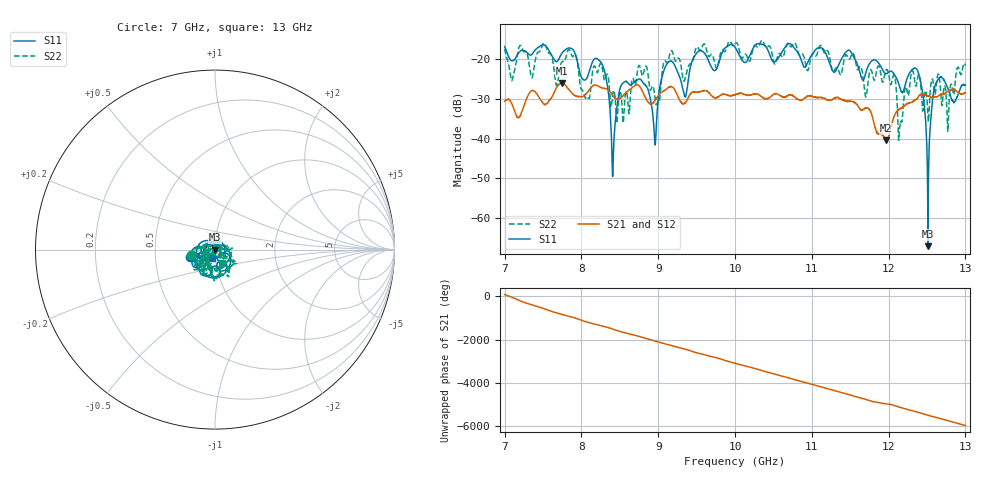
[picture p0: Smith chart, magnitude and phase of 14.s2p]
[Version] 2.0
! Rohde & Schwarz Vector Network Analyzer
! Rohde-Schwarz,ZNL20-2Port,1323001220200009,1.71.1.10-23.02.1.238
! Port Assignments:
! Nominal Port -> Actual Test Port
!  1 -> 1
!  2 -> 2
! Created: GMT+3 2024-09-24 16:06:23
# Hz S DB R 50
[Number of Ports] 2
[Two-Port Data Order] 21_12
! freq[Hz]  S11[mag dB]  S11[ang]  S21[mag dB]  S21[ang]  S12[mag dB]  S12[ang]  S22[mag dB]  S22[ang]
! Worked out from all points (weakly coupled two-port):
!   6001 points, 7 GHz to 13 GHz, reference 50 ohm
!   highest |S21| = -25.95 dB at 7.748 GHz (marker M1); lowest = -40.4 dB at 11.97 GHz (marker M2)
!   lowest |S11| = -67.1 dB at 12.51 GHz (marker M3), VSWR 1.00, Z = 50 - j0.0204 ohm
!   |S11| at or under -10 dB: start of sweep to end of sweep
!   |S22| runs from -40.4 to -15.2 dB; largest |S21 - S12| = 0.00096
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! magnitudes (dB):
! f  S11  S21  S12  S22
! 7 GHz  -16.7  -30.6  -30.5  -17.3
! 7.748 GHz  -18.4  -26.0  -26.0  -20.5
! 8 GHz  -24.5  -29.4  -29.4  -27.6
! 8.27 GHz  -21.3  -27.2  -27.2  -21.9
! 8.411 GHz  -47.6  -29.2  -29.2  -28.3
! 8.546 GHz  -25.9  -29.1  -29.1  -35.7
! 8.754 GHz  -24.9  -26.7  -26.7  -21.5
! 8.953 GHz  -39.9  -30.5  -30.5  -28.9
! 9 GHz  -30.0  -29.2  -29.1  -30.8
! 9.168 GHz  -20.4  -26.8  -26.8  -17.8
! 9.349 GHz  -29.4  -31.0  -31.1  -25.0
! 9.515 GHz  -18.1  -28.2  -28.3  -16.9
! 10 GHz  -16.9  -28.9  -28.9  -16.1
! 11 GHz  -18.9  -29.3  -29.2  -18.8
! 11.97 GHz  -23.6  -40.4  -40.4  -22.6
! 12 GHz  -23.2  -39.5  -39.5  -23.7
! 12.15 GHz  -27.3  -32.4  -32.5  -36.4
! 12.38 GHz  -22.7  -29.8  -29.8  -25.0
! 12.51 GHz  -67.1  -29.2  -29.1  -34.5
! 12.63 GHz  -25.5  -29.4  -29.4  -24.6
! 12.77 GHz  -27.3  -28.1  -28.0  -38.1
! 13 GHz  -26.5  -28.4  -28.4  -21.6
